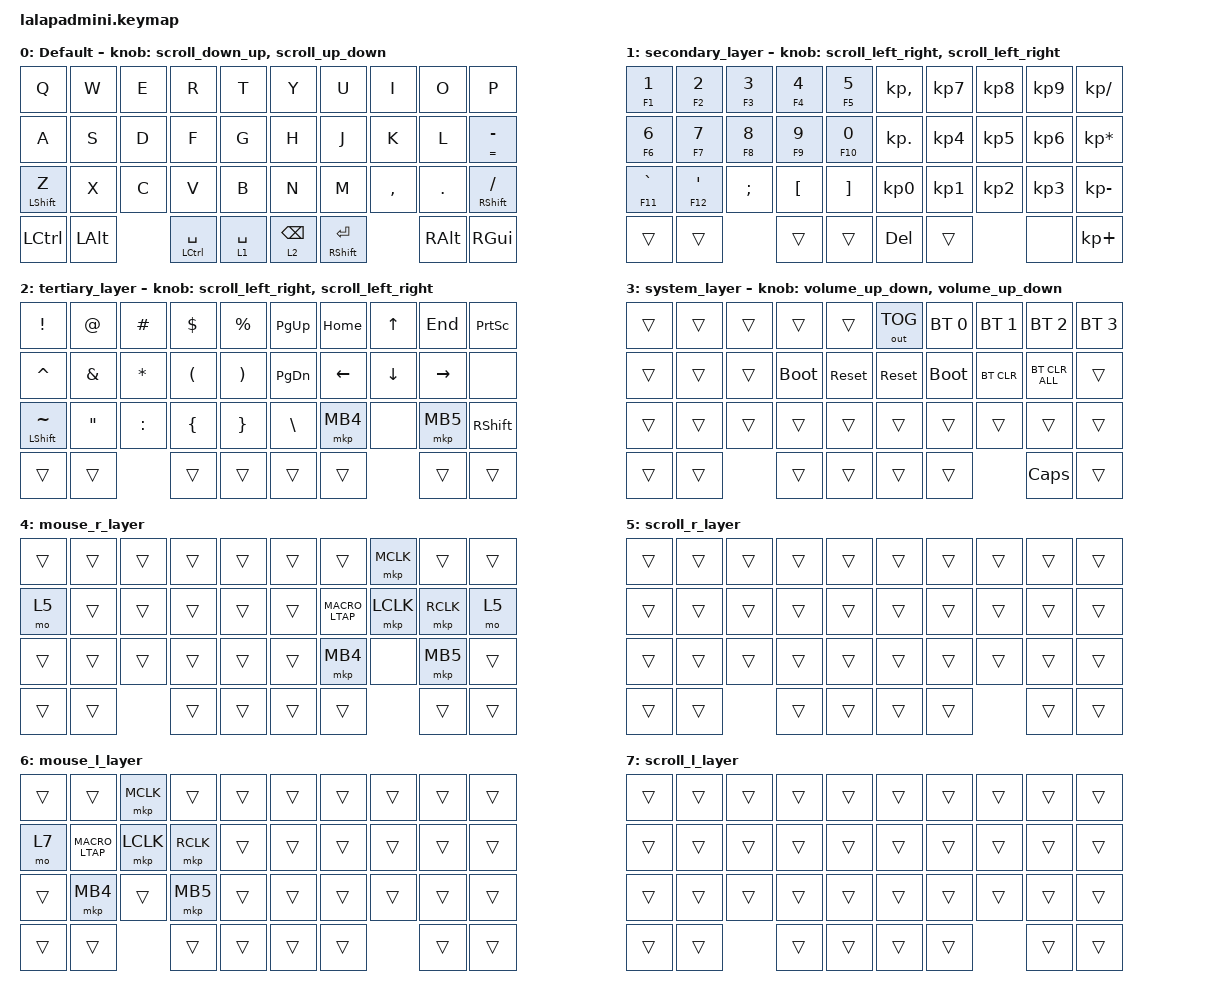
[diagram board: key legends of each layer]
#include <input/processors.dtsi>
#include <behaviors.dtsi>
#include <dt-bindings/zmk/bt.h>
#include <dt-bindings/zmk/keys.h>
#include <dt-bindings/zmk/outputs.h>
#include <dt-bindings/zmk/pointing.h>

#define DEFAULT_LAYER   0
#define SECONDARY_LAYER 1
#define TERTIARY_LAYER  2
#define SYSTEM_LAYER    3
#define MOUSE_R_LAYER   4
#define SCROLL_R_LAYER  5
#define MOUSE_L_LAYER   6
#define SCROLL_L_LAYER  7

// Mouse Scroll Value

#define ZMK_POINTING_DEFAULT_SCRL_VAL 100

// cirque trackpad input&layer control

&glidepoint_listener_R {
    input-processors =
        <&zip_xy_transform (INPUT_TRANSFORM_XY_SWAP | INPUT_TRANSFORM_X_INVERT | INPUT_TRANSFORM_Y_INVERT)>,
        <&zip_xy_scaler 5 2>,
        <&zip_temp_layer MOUSE_R_LAYER 300>;

    lowspeedmode {
        layers = <SECONDARY_LAYER>;
        input-processors =
            <&zip_xy_transform (INPUT_TRANSFORM_XY_SWAP | INPUT_TRANSFORM_X_INVERT | INPUT_TRANSFORM_Y_INVERT)>,
            <&zip_xy_scaler 3 5>,
            <&zip_temp_layer MOUSE_R_LAYER 300>;
    };

    scroller {
        layers = <SCROLL_R_LAYER>;
        input-processors =
            <&zip_xy_to_scroll_mapper>,
            <&zip_scroll_transform (INPUT_TRANSFORM_XY_SWAP | INPUT_TRANSFORM_Y_INVERT)>,
            <&zip_scroll_scaler 1 32>;
    };
};

&glidepoint_listener_L {
    input-processors =
        <&zip_xy_transform (INPUT_TRANSFORM_XY_SWAP | INPUT_TRANSFORM_X_INVERT | INPUT_TRANSFORM_Y_INVERT)>,
        <&zip_xy_scaler 3 2>,
        <&zip_temp_layer MOUSE_L_LAYER 300>;

    lowspeedmode {
        layers = <TERTIARY_LAYER>;
        input-processors =
            <&zip_xy_transform (INPUT_TRANSFORM_XY_SWAP | INPUT_TRANSFORM_X_INVERT | INPUT_TRANSFORM_Y_INVERT)>,
            <&zip_xy_scaler 3 4>,
            <&zip_temp_layer MOUSE_L_LAYER 300>;
    };

    scroller {
        layers = <SCROLL_L_LAYER>;
        input-processors =
            <&zip_xy_to_scroll_mapper>,
            <&zip_scroll_transform (INPUT_TRANSFORM_XY_SWAP | INPUT_TRANSFORM_Y_INVERT)>,
            <&zip_scroll_scaler 1 32>;
    };
};

&mt { quick-tap-ms = <200>; };

&lt { quick-tap-ms = <200>; };

/ {
    behaviors {
        // Encoder to Mouse Scroll

        scroll_up_down: behavior_sensor_rotate_mouse_wheel_up_down {
            compatible = "zmk,behavior-sensor-rotate";
            #sensor-binding-cells = <0>;
            bindings = <&msc SCRL_UP>, <&msc SCRL_DOWN>;

            tap-ms = <20>;
        };

        scroll_down_up: behavior_sensor_rotate_mouse_wheel_down_up {
            compatible = "zmk,behavior-sensor-rotate";
            #sensor-binding-cells = <0>;
            bindings = <&msc SCRL_DOWN>, <&msc SCRL_UP>;

            tap-ms = <20>;
        };

        scroll_left_right: behavior_sensor_rotate_mouse_wheel_left_right {
            compatible = "zmk,behavior-sensor-rotate";
            #sensor-binding-cells = <0>;
            bindings = <&msc SCRL_LEFT>, <&msc SCRL_RIGHT>;

            tap-ms = <20>;
        };

        scroll_right_left: behavior_sensor_rotate_mouse_wheel_right_left {
            compatible = "zmk,behavior-sensor-rotate";
            #sensor-binding-cells = <0>;
            bindings = <&msc SCRL_RIGHT>, <&msc SCRL_LEFT>;

            tap-ms = <20>;
        };

        volume_up_down: behavior_sensor_rotate_volume_up_down {
            compatible = "zmk,behavior-sensor-rotate";
            #sensor-binding-cells = <0>;
            bindings = <&kp C_VOLUME_UP>, <&kp C_VOLUME_DOWN>;

            tap-ms = <20>;
        };

        mt2: mod_tap2 {
            compatible = "zmk,behavior-hold-tap";
            #binding-cells = <2>;
            flavor = "tap-preferred";
            tapping-term-ms = <200>;
            quick-tap-ms = <200>;
            require-prior-idle-ms = <125>;
            bindings = <&kp>, <&kp>;
        };

        tap_dance_layer_1and2: tap_dance_layer_1and2 {
            compatible = "zmk,behavior-tap-dance";
            label = "td_mo12";
            #binding-cells = <0>;
            bindings = <&mo 1>, <&mo 2>;
        };
    };

    combos {
        compatible = "zmk,combos";

        CONBO_ESC {
            bindings = <&kp ESCAPE>;
            key-positions = <0 1>;
        };

        COMBO_TAB {
            bindings = <&kp TAB>;
            key-positions = <10 11>;
            timeout-ms = <25>;
            require-prior-idle-ms = <170>;
        };

        COMBO_WIN {
            bindings = <&kp LWIN>;
            key-positions = <30 31>;
        };

        Lang1 {
            bindings = <&kp LANG1>;
            key-positions = <35 34>;
        };

        Lang2 {
            bindings = <&kp LANG2>;
            key-positions = <32 33>;
        };
    };

    macros {
        MACRO_LTAP: MACRO_LTAP {
            compatible = "zmk,behavior-macro";
            #binding-cells = <0>;
            bindings = <&mkp LCLK>;
            label = "MACRO_LTAP";
        };
    };

    keymap {
        compatible = "zmk,keymap";

        DEFAULT_LAYER {
            display-name = "Default";
            sensor-bindings = <&scroll_down_up>, <&scroll_up_down>;

            bindings = <
&kp Q              &kp W         &kp E  &kp R                   &kp T        &kp Y            &kp U                  &kp I      &kp O          &kp P
&kp A              &kp S         &kp D  &kp F                   &kp G        &kp H            &kp J                  &kp K      &kp L          &mt2 EQUAL MINUS
&mt2 LEFT_SHIFT Z  &kp X         &kp C  &kp V                   &kp B        &kp N            &kp M                  &kp COMMA  &kp PERIOD     &mt2 RSHIFT SLASH
&kp LCTRL          &kp LEFT_ALT         &mt LEFT_CONTROL SPACE  &lt 1 SPACE  &lt 2 BACKSPACE  &mt RIGHT_SHIFT ENTER             &kp RIGHT_ALT  &kp RIGHT_GUI
            >;
        };

        SECONDARY_LAYER {
            display-name = "secondary_layer";
            sensor-bindings = <&scroll_left_right>, <&scroll_left_right>;

            bindings = <
&mt2 F1 NUMBER_1  &mt2 F2 NUMBER_2  &mt2 F3 NUMBER_3  &mt2 F4 NUMBER_4  &mt2 F5 N5         &kp KP_COMMA     &kp KP_NUMBER_7  &kp KP_NUMBER_8  &kp KP_NUMBER_9  &kp KP_DIVIDE
&mt2 F6 NUMBER_6  &mt2 F7 N7        &mt2 F8 N8        &mt2 F9 N9        &mt2 F10 N0        &kp KP_DOT       &kp KP_NUMBER_4  &kp KP_NUMBER_5  &kp KP_NUMBER_6  &kp KP_ASTERISK
&mt2 F11 GRAVE    &mt2 F12 SQT      &kp SEMICOLON     &kp LEFT_BRACKET  &kp RIGHT_BRACKET  &kp KP_NUMBER_0  &kp KP_NUMBER_1  &kp KP_NUMBER_2  &kp KP_NUMBER_3  &kp KP_MINUS
&trans            &trans                              &trans            &trans             &kp DELETE       &trans                            &none            &kp KP_PLUS
            >;
        };

        TERTIARY_LAYER {
            display-name = "tertiary_layer";
            bindings = <
&kp EXCLAMATION       &kp AT_SIGN        &kp HASH      &kp DOLLAR            &kp PERCENT            &kp PAGE_UP    &kp HOME  &kp UP_ARROW  &kp END    &kp PRINTSCREEN
&kp CARET             &kp AMPERSAND      &kp ASTERISK  &kp LEFT_PARENTHESIS  &kp RIGHT_PARENTHESIS  &kp PAGE_DOWN  &kp LEFT  &kp DOWN      &kp RIGHT  &none
&mt LEFT_SHIFT TILDE  &kp DOUBLE_QUOTES  &kp COLON     &kp LEFT_BRACE        &kp RIGHT_BRACE        &kp BACKSLASH  &mkp MB4  &none         &mkp MB5   &kp RIGHT_SHIFT
&trans                &trans                           &trans                &trans                 &trans         &trans                  &trans     &trans
            >;

            sensor-bindings = <&scroll_left_right>, <&scroll_left_right>;
        };

        SYSTEM_LAYER {
            display-name = "system_layer";
            sensor-bindings = <&volume_up_down>, <&volume_up_down>;

            bindings = <
&trans  &trans  &trans  &trans       &trans      &out OUT_TOG  &bt BT_SEL 0  &bt BT_SEL 1  &bt BT_SEL 2    &bt BT_SEL 3
&trans  &trans  &trans  &bootloader  &sys_reset  &sys_reset    &bootloader   &bt BT_CLR    &bt BT_CLR_ALL  &trans
&trans  &trans  &trans  &trans       &trans      &trans        &trans        &trans        &trans          &trans
&trans  &trans          &trans       &trans      &trans        &trans                      &kp CAPSLOCK    &trans
            >;
        };

        MOUSE_R_LAYER {
            display-name = "mouse_r_layer";
            bindings = <
&trans  &trans  &trans  &trans  &trans  &trans  &trans       &mkp MCLK  &trans     &trans
&mo 5   &trans  &trans  &trans  &trans  &trans  &MACRO_LTAP  &mkp LCLK  &mkp RCLK  &mo 5
&trans  &trans  &trans  &trans  &trans  &trans  &mkp MB4     &none      &mkp MB5   &trans
&trans  &trans          &trans  &trans  &trans  &trans                  &trans     &trans
            >;
        };

        SCROLL_R_LAYER {
            display-name = "scroll_r_layer";
            bindings = <
&trans  &trans  &trans  &trans  &trans  &trans  &trans  &trans  &trans  &trans
&trans  &trans  &trans  &trans  &trans  &trans  &trans  &trans  &trans  &trans
&trans  &trans  &trans  &trans  &trans  &trans  &trans  &trans  &trans  &trans
&trans  &trans          &trans  &trans  &trans  &trans          &trans  &trans
            >;
        };

        MOUSE_L_LAYER {
            display-name = "mouse_l_layer";
            bindings = <
&trans  &trans       &mkp MCLK  &trans     &trans  &trans  &trans  &trans  &trans  &trans
&mo 7   &MACRO_LTAP  &mkp LCLK  &mkp RCLK  &trans  &trans  &trans  &trans  &trans  &trans
&trans  &mkp MB4     &trans     &mkp MB5   &trans  &trans  &trans  &trans  &trans  &trans
&trans  &trans                  &trans     &trans  &trans  &trans          &trans  &trans
            >;
        };

        SCROLL_L_LAYER {
            display-name = "scroll_l_layer";
            bindings = <
&trans  &trans  &trans  &trans  &trans  &trans  &trans  &trans  &trans  &trans
&trans  &trans  &trans  &trans  &trans  &trans  &trans  &trans  &trans  &trans
&trans  &trans  &trans  &trans  &trans  &trans  &trans  &trans  &trans  &trans
&trans  &trans          &trans  &trans  &trans  &trans          &trans  &trans
            >;
        };
    };

    conditional_layers {
        compatible = "zmk,conditional-layers";

        System_layer {
            if-layers = <1 2>;
            then-layer = <3>;
        };
    };
};
